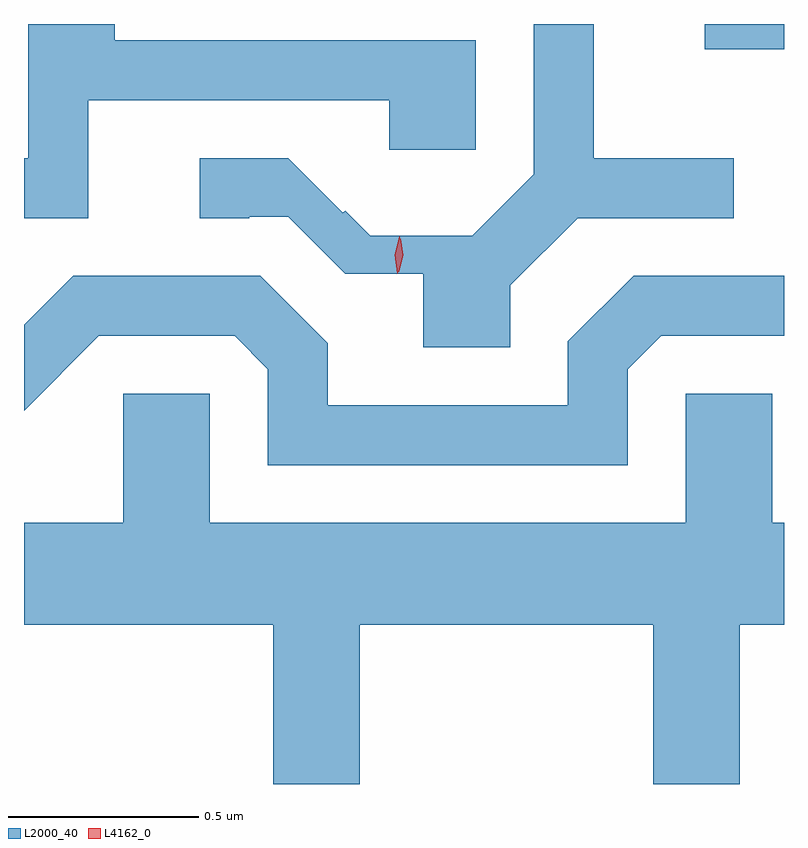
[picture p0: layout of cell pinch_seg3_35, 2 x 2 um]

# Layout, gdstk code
import gdstk
lib = gdstk.Library(unit=1e-6, precision=1e-09)
def R(c, l, rs):  # rectangles x0, y0, x1, y1
    for r in rs: c.add(gdstk.rectangle(r[:2], r[2:], *l))
def P(c, l, *ps):  # polygons
    for p in ps: c.add(gdstk.Polygon(p, *l))
L2000_40 = (2000, 40)
L4162_0 = (4162, 0)

pinch_seg3_35 = lib.new_cell('pinch_seg3_35')
R(pinch_seg3_35, L2000_40, [(1897.881,1200.791,1898.09,1200.857)])
P(pinch_seg3_35, L2000_40, [(1896.259,1200.656),(1897.051,1200.656),(1897.051,1200.526),(1897.279,1200.526),(1897.279,1200.814),(1896.329,1200.814),(1896.329,1200.857),(1896.101,1200.857),(1896.101,1200.504),(1896.09,1200.504),(1896.09,1200.346),(1896.259,1200.346)],
  [(1897.369,1200.169),(1897.547,1200.346),(1897.958,1200.346),(1897.958,1200.504),(1897.589,1200.504),(1897.589,1200.857),(1897.431,1200.857),(1897.431,1200.462),(1897.269,1200.3),(1897.001,1200.3),(1896.935,1200.366),(1896.929,1200.36),(1896.785,1200.504),(1896.553,1200.504),(1896.553,1200.346),(1896.683,1200.346),(1896.683,1200.35),(1896.785,1200.35),(1896.935,1200.2),(1897.141,1200.2),(1897.141,1200.006),(1897.369,1200.006)],
  [(1897.679,1199.949),(1897.767,1200.036),(1898.09,1200.036),(1898.09,1200.194),(1897.694,1200.194),(1897.521,1200.022),(1897.521,1199.854),(1896.889,1199.854),(1896.889,1200.017),(1896.712,1200.194),(1896.219,1200.194),(1896.09,1200.065),(1896.09,1199.839),(1896.287,1200.036),(1896.644,1200.036),(1896.731,1199.949),(1896.731,1199.696),(1897.679,1199.696)],
  [(1896.974,1199.276),(1897.746,1199.276),(1897.746,1198.857),(1897.974,1198.857),(1897.974,1199.276),(1898.09,1199.276),(1898.09,1199.544),(1898.059,1199.544),(1898.059,1199.884),(1897.831,1199.884),(1897.831,1199.544),(1896.579,1199.544),(1896.579,1199.884),(1896.351,1199.884),(1896.351,1199.544),(1896.09,1199.544),(1896.09,1199.276),(1896.746,1199.276),(1896.746,1198.857),(1896.974,1198.857)])
P(pinch_seg3_35, L4162_0, [(1897.073,1200.2),(1897.072,1200.201),(1897.066,1200.25),(1897.078,1200.297),(1897.079,1200.298),(1897.079,1200.297),(1897.086,1200.248),(1897.073,1200.201)],
  [(1897.076,1200.205),(1897.076,1200.206),(1897.068,1200.249),(1897.08,1200.292),(1897.08,1200.292),(1897.081,1200.292),(1897.088,1200.248),(1897.077,1200.206)])

lib.write_gds('pinch_seg3_35.gds')
